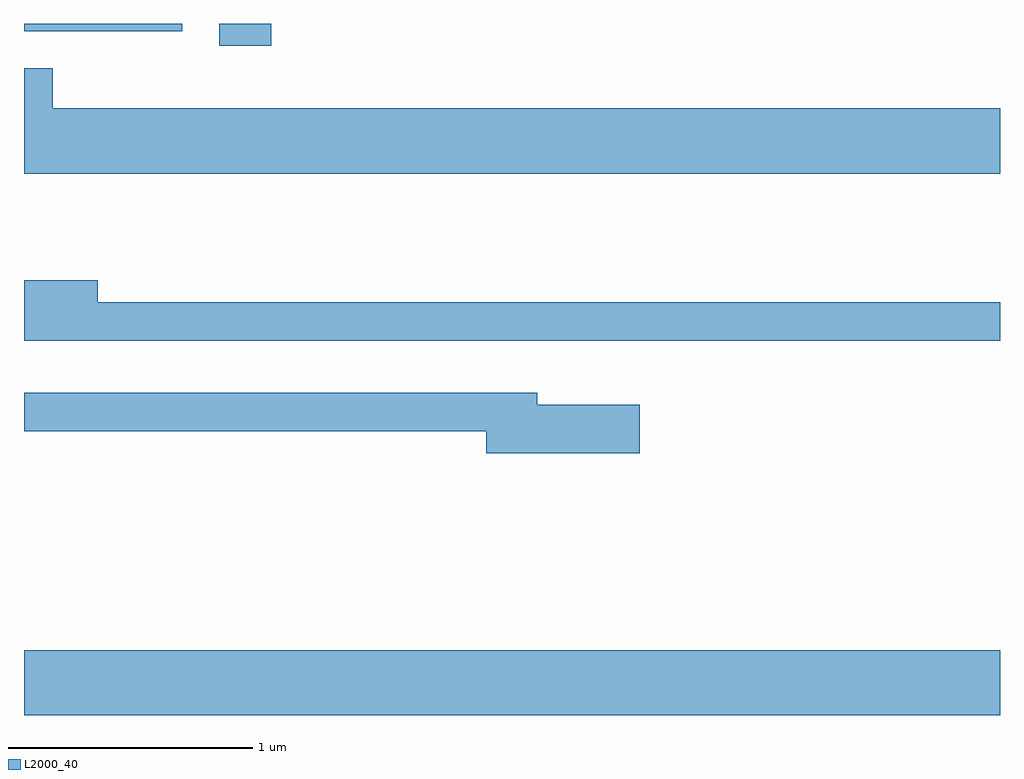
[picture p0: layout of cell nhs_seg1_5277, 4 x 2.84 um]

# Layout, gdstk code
import gdstk
lib = gdstk.Library(unit=1e-6, precision=1e-09)
def R(c, l, rs):  # rectangles x0, y0, x1, y1
    for r in rs: c.add(gdstk.rectangle(r[:2], r[2:], *l))
def P(c, l, *ps):  # polygons
    for p in ps: c.add(gdstk.Polygon(p, *l))
L2000_40 = (2000, 40)

nhs_seg1_5277 = lib.new_cell('nhs_seg1_5277')
R(nhs_seg1_5277, L2000_40, [(343.611,932.876,347.611,933.144), (344.411,935.621,344.624,935.712), (343.611,935.681,344.259,935.712)])
P(nhs_seg1_5277, L2000_40, [(347.611,935.364),(343.729,935.364),(343.729,935.529),(343.611,935.529),(343.611,935.096),(347.611,935.096)],
  [(347.611,934.569),(343.914,934.569),(343.914,934.659),(343.611,934.659),(343.611,934.411),(347.611,934.411)],
  [(346.134,934.149),(345.714,934.149),(345.714,934.199),(343.611,934.199),(343.611,934.041),(345.506,934.041),(345.506,933.951),(346.134,933.951)])

lib.write_gds('nhs_seg1_5277.gds')
